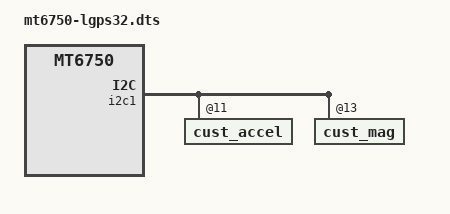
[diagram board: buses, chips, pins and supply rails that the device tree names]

/dts-v1/;

#include "../muse6750_hdk_n_lge.dtsi"

#include "mt6750-lgps32-power.dtsi"
#include "mt6750-lgps32-panel.dtsi"
#include "mt6750-lgps32-touch.dtsi"
#include "mt6750-lgps32-sensor.dtsi"
#include "mt6750-lgps32-misc.dtsi"
#include "mt6750-lgps32-sound.dtsi"
#include "mt6750-lgps32-common.dtsi"
#include "../mt6750-common.dtsi"

/ {
	/*
	typedef enum {
		HW_REV_0 = 0,
		HW_REV_0_1,
		HW_REV_A,
		HW_REV_B,
		HW_REV_C,
		HW_REV_1_0,
		HW_REV_1_1,
		HW_REV_MAX
	} rev_type;
	*/
	lge,pcb_revision = <0x0>; // rev_0
};

&i2c1 {
	cust_accel@11 {
		direction = <0>;
	};

	cust_mag@13 {
		direction = <0>;
	};
};

